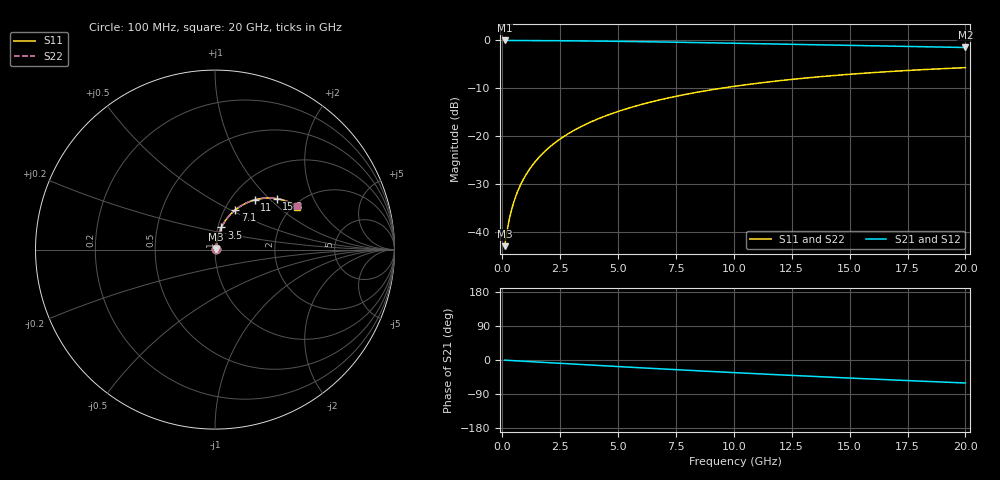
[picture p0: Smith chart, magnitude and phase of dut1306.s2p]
! Touchstone file exported from HFSS 2026.1.0
!  File:  C:/ffzhzh/LocalFiles/Ansys_Project_Files/temp_train_TMRDL_1306_1783164766_51560.aedt
!  Generated:  07:34:05 PM Jul  4, 2026
!  Design:  TMRDL
!  Project:  temp_train_TMRDL_1306_1783164766_51560
! Variables:
!  h_bsmrdl = 2um
!  h_ox = 20um
!  h_rdl = 5um
!  h_sub = 80um
!  h_tmrdl = 3.62um
!  h_tsv = 80um
!  h_via = 3um
!  l_bsmrdl = 300um
!  l_sub = 1352.18um
!  l_tmrdl = 952.18um
!  m_sub = 200um
!  pitch = 42.21um
!  r_tsv = 6um
!  s_tmrdl = 10um
!  w_bsmrdl = 18um
!  w_sub = 500um
!  w_tmrdl = 16.24um
!  x_tsv_center1 = 960.3um
!  x_tsv_center2 = 1278.3um
!  x_tsv_center3 = 2246.72um
!  x_tsv_center4 = 2564.72um
!  x_tsv_center5 = 3533.14um
!  x_tsv_center6 = 3851.14um
# GHz S MA R 50.000000
! Terminal data exported
! Port[1] = TM_RDL1_1_T1
! Port[2] = TM_RDL1_1_T2
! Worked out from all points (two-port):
!   200 points, 100 MHz to 20 GHz, reference 50 ohm
!   highest |S21| = -0.05 dB at 100 MHz (marker M1); lowest = -1.5 dB at 20 GHz (marker M2)
!   |S21| within 3 dB of the highest: start of sweep to end of sweep
!   lowest |S11| = -43.0 dB at 100 MHz (marker M3), VSWR 1.01, Z = 50.6 + j0.406 ohm
!   |S11| at or under -10 dB: start of sweep to 9.501 GHz
!   |S22| runs from -43.0 to -5.7 dB; largest |S21 - S12| = 2.6e-15
!   S11 on the Smith chart (normalised r, x): 100 MHz: 1.01, +0.01; 3.5 GHz: 1.04, +0.26; 7.1 GHz: 1.12, +0.53; 11 GHz: 1.28, +0.81; 15.3 GHz: 1.57, +1.11; 20 GHz: 2.09, +1.37
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0.1  0.007067 34.6  0.9942 -0.4  0.9942 -0.4  0.007067 34.6
! Gamma 0 0 0 0
! Port Impedance 50 0 50 0
0.2  0.01001 52.7  0.994 -0.7  0.994 -0.7  0.01001 52.7
0.3  0.01342 61.5  0.9938 -1.1  0.9938 -1.1  0.01342 61.5
0.4  0.01696 66.4  0.9935 -1.5  0.9935 -1.5  0.01696 66.4
0.5  0.02052 69.5  0.9932 -1.8  0.9932 -1.8  0.02052 69.5
0.6  0.02411 71.7  0.993 -2.2  0.993 -2.2  0.02411 71.7
0.8  0.03131 74.3  0.9926 -2.9  0.9926 -2.9  0.03131 74.3
1.1  0.04219 76.3  0.992 -3.9  0.992 -3.9  0.04219 76.3
1.6  0.06042 77.2  0.9907 -5.7  0.9907 -5.7  0.06042 77.2
2.1  0.07863 76.9  0.9891 -7.4  0.9891 -7.4  0.07863 76.9
2.7  0.1003 75.8  0.9868 -9.5  0.9868 -9.5  0.1003 75.8
3.5  0.1288 73.8  0.9828 -12.2  0.9828 -12.2  0.1288 73.8
5  0.1803 69.4  0.9734 -17.3  0.9734 -17.3  0.1803 69.4
6.8  0.2382 63.9  0.9594 -23.3  0.9594 -23.3  0.2382 63.9
7.1  0.2474 63.0  0.9568 -24.2  0.9568 -24.2  0.2474 63.0
8.5  0.2886 58.7  0.9442 -28.7  0.9442 -28.7  0.2886 58.7
10.1  0.332 53.9  0.929 -33.6  0.929 -33.6  0.332 54.0
11  0.3547 51.3  0.9202 -36.3  0.9202 -36.3  0.3547 51.4
13.4  0.4092 44.6  0.8967 -43.2  0.8967 -43.2  0.4092 44.6
15.3  0.4464 39.5  0.8787 -48.5  0.8787 -48.5  0.4463 39.5
16.7  0.4705 35.8  0.8661 -52.2  0.8661 -52.2  0.4704 35.9
20  0.5172 27.6  0.8395 -60.7  0.8395 -60.7  0.5171 27.7
